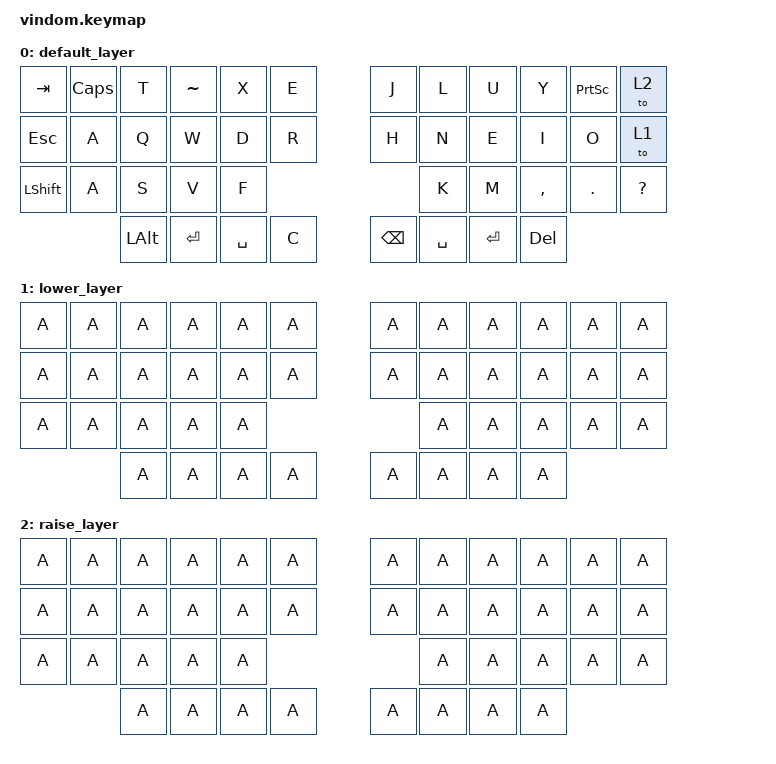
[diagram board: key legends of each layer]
/*
 * Copyright (c) 2020 The ZMK Contributors
 *
 * SPDX-License-Identifier: MIT
 */

#include <behaviors.dtsi>
#include <dt-bindings/zmk/keys.h>
#include <dt-bindings/zmk/bt.h>

#define DEFAULT 0
#define LOWER 1
#define RAISE 2


/ {
        keymap {
                compatible = "zmk,keymap";

                default_layer {
// -----------------------------------------------------------------------------------------
// | left ALT  |  Q  |  W  |  F  |  P  |  G  |      |  J  |  L  |  U  |  Y  | PSCR | TO2  |
// |      ESC  |  A  |  R  |  S  |  T  |  D  |      |  H  |  N  |  E  |  I  |  O   | TO1  |
// |           |  Z  |  X  |  C  |  V  |  B  |      |  K  |  M  |  ,  |  .  |  ?   | 
//             | TAB | left CTRL| SPACE | left SFT |     | BSPC| SPC | ENT | DEL | 
                        bindings = <
   &kp TAB   &kp CAPSLOCK   &kp T   &kp TILDE   &kp X   &kp E   													                                                 &kp J   &kp L  &kp U       &kp Y        &kp PRINTSCREEN    &to 2
   &kp ESCAPE     &kp A   &kp Q   &kp W   &kp D   &kp R   													                                                 &kp H   &kp N  &kp E       &kp I        &kp O              &to 1
		          &kp LEFT_SHIFT   &kp A   &kp S   &kp V   &kp F  													                                                 &kp K   &kp M  &kp COMMA   &kp PERIOD   &kp QUESTION  
										               &kp LEFT_ALT &kp ENTER  &kp SPACE  &kp C       &kp BACKSPACE &kp SPACE &kp ENTER &kp DELETE 
                        >;
                };
                lower_layer {
// -----------------------------------------------------------------------------------------
// |  TAB |  1  |  2  |  3  |  4  |  5  |   |  6  |  7  |  8  |  9  |  0  | BSPC |
// | BTCLR| BT1 | BT2 | BT3 | BT4 | BT5 |   | LFT | DWN |  UP | RGT |     |      |
// | SHFT |     |     |     |     |     |   |     |     |     |     |     |      |
//                    | GUI |     | SPC |   | ENT |     | ALT |
                        bindings = <
//   &kp TAB    &kp N1       &kp N2       &kp N3       &kp N4       &kp N5         &kp N6   &kp N7   &kp N8 &kp N9    &kp N0 &kp BSPC
//   &bt BT_CLR &bt BT_SEL 0 &bt BT_SEL 1 &bt BT_SEL 2 &bt BT_SEL 3 &bt BT_SEL 4   &kp LEFT &kp DOWN &kp UP &kp RIGHT &trans &trans
//     &trans       &trans       &trans       &trans       &trans         &trans   &trans   &trans &trans    &trans &trans
//                                    &kp LGUI     &trans       &kp SPACE      &kp RET  &trans   &kp RALT

	 &kp A   &kp A &kp A &kp A &kp A &kp A   																						&kp A &kp A  &kp A     &kp A   &kp A    &kp A
	 &kp A &kp A &kp A &kp A &kp A &kp A   																						&kp A &kp A  &kp A     &kp A   &kp A &kp A
		 &kp A &kp A &kp A &kp A &kp A  																						&kp A &kp A  &kp A &kp A &kp A  
										  &kp A &kp A &kp A &kp A   &kp A &kp A &kp A &kp A 

                        >;
                };

                raise_layer {
// -----------------------------------------------------------------------------------------
// |  TAB |  !  |  @  |  #  |  $  |  %  |   |  ^  |  &  |  *  |  (  |  )  | BSPC |
// | CTRL |     |     |     |     |     |   |  -  |  =  |  [  |  ]  |  \  |  `   |
// | SHFT |     |     |     |     |     |   |  _  |  +  |  {  |  }  | "|" |  ~   |
//                    | GUI |     | SPC |   | ENT |     | ALT |
                        bindings = <
//   &kp  TAB  &kp EXCL &kp AT &kp HASH &kp DLLR &kp PRCNT   &kp CARET &kp AMPS  &kp ASTRK &kp LPAR &kp RPAR &kp BSPC
//   &kp LCTRL &trans   &trans &trans   &trans   &trans      &kp MINUS &kp EQUAL &kp LBKT  &kp RBKT &kp BSLH &kp GRAVE
//   &kp LSHFT &trans   &trans &trans   &trans   &trans      &kp UNDER &kp PLUS  &kp LBRC  &kp RBRC &kp PIPE &kp TILDE
//                             &kp LGUI &trans   &kp SPACE   &kp RET   &trans    &kp RALT
	 &kp A   &kp A &kp A &kp A &kp A &kp A   																						&kp A &kp A  &kp A     &kp A   &kp A    &kp A
     &kp A &kp A &kp A &kp A &kp A &kp A   																						&kp A &kp A  &kp A     &kp A   &kp A &kp A
		 &kp A &kp A &kp A &kp A &kp A  																						&kp A &kp A  &kp A &kp A &kp A  
										  &kp A &kp A &kp A &kp A   &kp A &kp A &kp A &kp A 

                        >;
                };
        };
};
